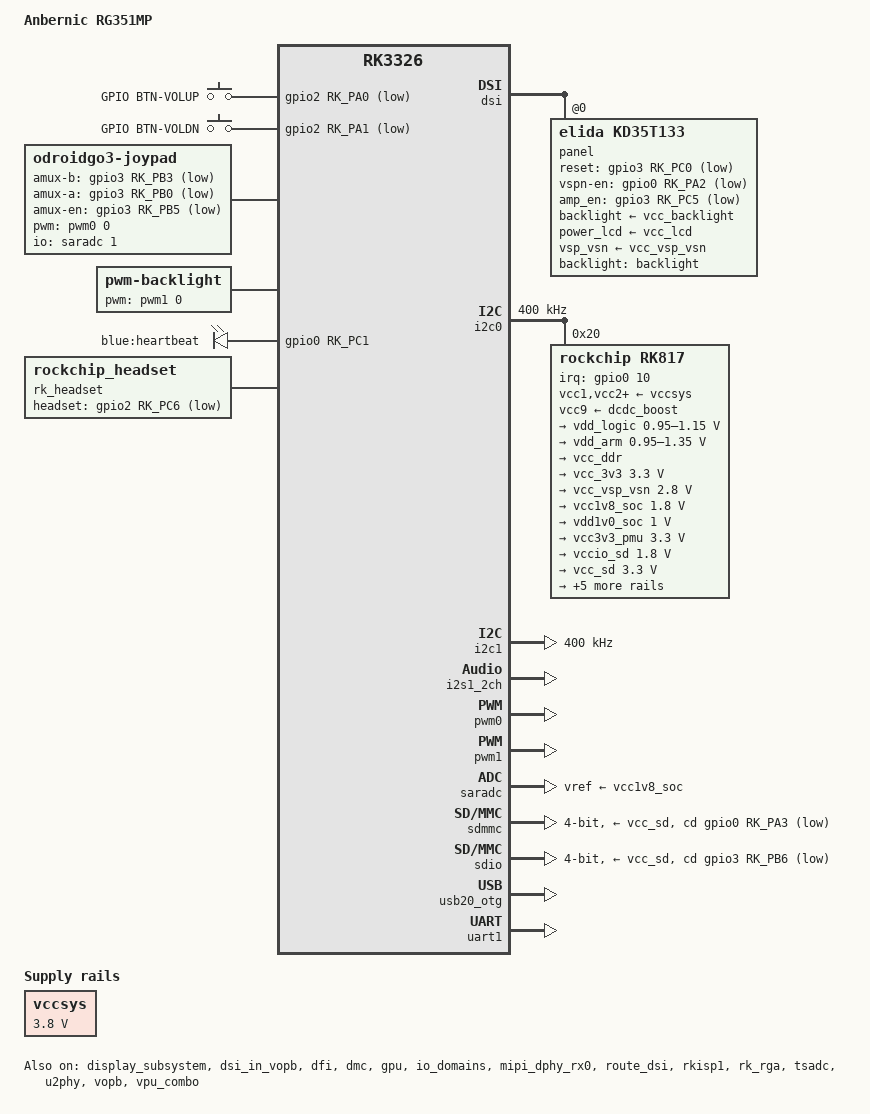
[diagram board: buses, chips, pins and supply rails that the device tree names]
// SPDX-License-Identifier: (GPL-2.0+ OR MIT)
/*
 * Copyright (c) 2021 Anbernic
 *
 * Anbernic RG351MP
 *
 */

/dts-v1/;
#include <dt-bindings/display/drm_mipi_dsi.h>
#include <dt-bindings/gpio/gpio.h>
#include <dt-bindings/input/input.h>
#include <dt-bindings/pinctrl/rockchip.h>
#include <dt-bindings/sensor-dev.h>
#include "rk3326.dtsi"
#include "rk3326-linux.dtsi"

/ {
	model = "Anbernic RG351MP";
	compatible = "rockchip,rk3326-rg351mp-linux", "rockchip,rk3326";

	chosen {
             bootargs = "console=ttyS0,115200n8 loglevel=7 console=tty1 gpt fbcon=rotate:3";
	};

	gpio_keys: rg351-keys {
		compatible = "gpio-keys";
		#address-cells = <1>;
		#size-cells = <0>;
		autorepeat;
		button@0 {
			label = "GPIO BTN-VOLUP";
			linux,code = <KEY_VOLUMEUP>;
			gpios = <&gpio2 RK_PA0 GPIO_ACTIVE_LOW>;
		};
		button@1 {
			label = "GPIO BTN-VOLDN";
			linux,code = <KEY_VOLUMEDOWN>;
			gpios = <&gpio2 RK_PA1 GPIO_ACTIVE_LOW>;
		};
	};

	joypad: odroidgo3-joypad {
                compatible = "odroidgo3-joypad";

                pwms = <&pwm0 0 200000000 0>;
                pwm-names = "enable";
                rumble-boost-weak = <0x0000>;
                rumble-boost-strong = <0x0000>;

                joypad-name = "GO-Super Gamepad";
                joypad-product = <0x1100>;
                joypad-revision = <0x0100>;

		status = "okay";
                /*
                  - odroidgo3-joypad sysfs list -
		   * for poll device interval(ms)
		   /sys/devices/platform/odroidgo3_joypad/poll_interval [rw]
		   ex) echo 20 > poll_interval
                   * for button-adc-fuzz
		   /sys/devices/platform/odroidgo3_joypad/adc_fuzz [r]
                   * for button-adc-flat
		   /sys/devices/platform/odroidgo3_joypad/adc_flat [r]

		   * for report control(1:enable, 0:disable)
		   /sys/devices/platform/odroidgo3_joypad/enable [rw]
		   * for adc calibration value setup(current adcs value -> cal value)
		   /sys/devices/platform/odroidgo3_joypad/adc_cal [rw]
		   ex) echo 0 > adc_cal

		   * for rumble period(ns)
		   /sys/devices/platform/odroidgo3_joypad/rumble_period
		   ex) echo 20000000 > rumble_duty_cycle
		   ex) cat rumble_duty_cycle -->get current duty cycle

		   * for rumble boost(0~65535)
		   /sys/devices/platform/odroidgo3_joypad/rumble_boost_weak
		   /sys/devices/platform/odroidgo3_joypad/rumble_boost_strong

		   * for amux data debug
		   * Joypad driver is disabled when using this sysfs.
		   /sys/devices/platform/odroidgo3_joypad/amux_debug [rw]
		   ex) echo 0 > amux_debug --> select amux channel
		   ex) cat amux_debug --> get adc data of seleted channel
                */

		/* gpio pincontrol setup */
                pinctrl-names = "default";
                pinctrl-0 = <&btn_pins>;
                pinctrl-1 = <&pwm0_pin>;

		/* Analog mux define */
		io-channel-names = "amux_adc";
		io-channels = <&saradc 1>;

		/* adc mux channel count */
		amux-count = <4>;
		/* adc mux select(a,b) gpio */
		//amux-a-gpios = <&gpio3 RK_PB3 GPIO_ACTIVE_LOW>;
		//amux-b-gpios = <&gpio3 RK_PB0 GPIO_ACTIVE_LOW>;
		amux-b-gpios = <&gpio3 RK_PB3 GPIO_ACTIVE_LOW>;
		amux-a-gpios = <&gpio3 RK_PB0 GPIO_ACTIVE_LOW>;
		/* adc mux enable gpio */
		amux-en-gpios = <&gpio3 RK_PB5 GPIO_ACTIVE_LOW>;

		/* adc calculate scale */
		button-adc-scale = <2>;

		/* adc deadzone range  */
		button-adc-deadzone = <64>;

		/*
		  specifies fuzz value that is used to filter noise from
		  the event stream.
		*/
		button-adc-fuzz = <32>;
		button-adc-flat = <32>;

		/*
		  Analog Stick data tuning value(precent)
		  p = positive direction, n = negative direction
		  report value = (real_adc_data * tuning_value) / 100
		*/
		abs_x-p-tuning = <200>;
		abs_x-n-tuning = <200>;

		abs_y-p-tuning = <200>;
		abs_y-n-tuning = <200>;

		abs_rx-p-tuning = <200>;
		abs_rx-n-tuning = <200>;

		abs_ry-p-tuning = <200>;
		abs_ry-n-tuning = <200>;

		/* poll device interval (ms), adc read interval */
		poll-interval = <10>;

		/* required for RG351MP */
		invert-absx;
		invert-absy;

		/* gpio button auto repeat set value : default disable */
		/*
			autorepeat;
		*/

		/*
		      *** ODROIDGO3-Advance Switch layoout ***
		|------------------------------------------------|
		| sw15  sw21        sw10   sw9        sw20  sw16 |
		|------------------------------------------------|
		|      sw19                            sw22      |
		|              |-------------------|             |
		|     sw1      |                   |      sw8    |
		|  sw3   sw4   |                   |   sw7   sw5 |
		|     sw2      |    LCD Display    |      sw6    |
		|              |                   |             |
		|              |                   |             |
		|              |-------------------|             |
		|  sw11 sw12        | sd-slot |       sw13 sw14  |
		|-------------------|         |------------------|
		*/
                /*
                    joypad driver is poll-device driver.
                    poll-device is does not support wakeup-source.
		*/
                sw1 {
                        gpios = <&gpio1 RK_PB4 GPIO_ACTIVE_LOW>;
                        label = "GPIO DPAD-UP";
                        linux,code = <BTN_DPAD_UP>; // 0x220
                };
                sw2 {
                        gpios = <&gpio1 RK_PB5 GPIO_ACTIVE_LOW>;
                        label = "GPIO DPAD-DOWN";
                        linux,code = <BTN_DPAD_DOWN>; // 0x221
                };
                sw3 {
                        gpios = <&gpio1 RK_PB6 GPIO_ACTIVE_LOW>;
                        label = "GPIO DPAD-LEFT";
                        linux,code = <BTN_DPAD_LEFT>; // 0x222
                };
                sw4 {
                        gpios = <&gpio1 RK_PB7 GPIO_ACTIVE_LOW>;
                        label = "GPIO DPAD-RIGHT";
                        linux,code = <BTN_DPAD_RIGHT>; // 0x223
                };
                sw5 {
                        gpios = <&gpio1 RK_PA2 GPIO_ACTIVE_LOW>;
                        label = "GPIO KEY BTN-A";
                        linux,code = <BTN_EAST>; // 0x131
                };
                sw6 {
                        gpios = <&gpio1 RK_PA5 GPIO_ACTIVE_LOW>;
                        label = "GPIO BTN-B";
                        linux,code = <BTN_SOUTH>; // 0x130
                };
                sw7 {
                        gpios = <&gpio1 RK_PA6 GPIO_ACTIVE_LOW>;
                        label = "GPIO BTN-Y";
                        linux,code = <BTN_WEST>; // 0x134
                };
                sw8 {
                        gpios = <&gpio1 RK_PA7 GPIO_ACTIVE_LOW>;
                        label = "GPIO BTN-X";
                        linux,code = <BTN_NORTH>; // 0x133
                };
                sw11 {
                        gpios = <&gpio2 RK_PA2 GPIO_ACTIVE_LOW>;
                        label = "GPIO F3";
                        linux,code = <BTN_TRIGGER_HAPPY3>; // 0x2c2
                };
                sw12 {
                        gpios = <&gpio2 RK_PA3 GPIO_ACTIVE_LOW>;
                        label = "GPIO F4";
                        linux,code = <BTN_TRIGGER_HAPPY4>; // 0x2c3
                };
                /*sw13 {
                        gpios = <&gpio2 RK_PA4 GPIO_ACTIVE_LOW>;
                        label = "GPIO F5";
                        linux,code = <BTN_TRIGGER_HAPPY5>; // 0x2c4
                };
                sw14 {
                        gpios = <&gpio2 RK_PA5 GPIO_ACTIVE_LOW>;
                        label = "GPIO F6";
                        linux,code = <BTN_TRIGGER_HAPPY6>; // 0x13c
                };*/
                sw15 {
                        gpios = <&gpio2 RK_PA6 GPIO_ACTIVE_LOW>;
                        label = "GPIO TOP-LEFT";
                        linux,code = <BTN_TL>; // 0x02
                };
                sw16 {
                        gpios = <&gpio2 RK_PA7 GPIO_ACTIVE_LOW>;
                        label = "GPIO TOP-RIGHT";
                        linux,code = <BTN_TR>; // 0x05
                };
                sw19 {
                        gpios = <&gpio3 RK_PB1 GPIO_ACTIVE_LOW>;
                        label = "GPIO F1";
                        linux,code = <BTN_TRIGGER_HAPPY1>;
                };
                sw20 {
                        gpios = <&gpio3 RK_PB7 GPIO_ACTIVE_LOW>;
                        label = "GPIO TOP-RIGHT2";
                        linux,code = <BTN_TR2>;
                };
                sw21 {
                        gpios = <&gpio3 RK_PB2 GPIO_ACTIVE_LOW>;
                        label = "GPIO TOP-LEFT2";
                        linux,code = <BTN_TL2>;
                };
                sw22 {
                        gpios = <&gpio3 RK_PB4 GPIO_ACTIVE_LOW>;
                        label = "GPIO F2";
                        linux,code = <BTN_TRIGGER_HAPPY2>;
                };
        };

	fiq-debugger {
		compatible = "rockchip,fiq-debugger";
		rockchip,serial-id = <2>;
		rockchip,wake-irq = <0>;
		/* If enable uart uses irq instead of fiq */
		rockchip,irq-mode-enable = <0>;
		rockchip,baudrate = <115200>;  /* Only 115200 and 1500000 */
		interrupts = <GIC_SPI 127 IRQ_TYPE_LEVEL_LOW>;
		pinctrl-names = "default";
		pinctrl-0 = <&uart2m1_xfer>;
		status = "okay";
	};

	backlight: backlight {
		compatible = "pwm-backlight";
		pwms = <&pwm1 0 62745 0>;
		/*
		brightness-levels = <
			  2   3   4   5   6   7
			  8   9  10  11  12  13  14  15
			 16  17  18  19  20  21  22  23
			 24  25  26  27  28  29  30  31
			 32  33  34  35  36  37  38  39
			 40  41  42  43  44  45  46  47
			 48  49  50  51  52  53  54  55
			 56  57  58  59  60  61  62  63
			 64  65  66  67  68  69  70  71
			 72  73  74  75  76  77  78  79
			 80  81  82  83  84  85  86  87
			 88  89  90  91  92  93  94  95
			 96  97  98  99 100 101 102 >;
			 */
			 brightness-levels = <
			 100  99  98  97  96  95  94 93
			 92 91 90 89 88 87 86 85 84 83 82 81 
			 80 79 78 77 76 75 74 73 72 71 70
			 69 68 67 66 65 64 63 62 61 60 59 
			 58 57 56 55 54 53 52 51 50 49 48 
			 47 46 45 44 43 42 41 40 39 38 37
			 36 35 34 33 32 31 30 29 28 27 26
			 25 24 23 22 21 20 19 18 17 16 15 
			 14 13 12 11 10 9 8 7 6 5 4 3 2 1 >;
		default-brightness-level = <51>; /* default 50% */
	};

	leds: gpio_leds {
		compatible = "gpio-leds";

		pinctrl-names = "led_pins";
		pinctrl-0 = <&led_pins>;

		/* Blue LED : GPIO0_C1 */
		heartbeat {
			label = "blue:heartbeat";
			gpios = <&gpio0 RK_PC1 GPIO_ACTIVE_HIGH>;
			linux,default-trigger = "heartbeat";
		};
	};

	rk817-sound {
		compatible = "simple-audio-card";
		simple-audio-card,format = "i2s";
		simple-audio-card,name = "rockchip,rk817-codec";
		simple-audio-card,mclk-fs = <256>;
		simple-audio-card,widgets =
			"Microphone", "Mic Jack",
			"Headphone", "Headphone Jack";
		simple-audio-card,routing =
			"MIC_IN", "Mic Jack",
			/*"IN1P", "Mic Jack",*/
			"Headphone Jack", "HPOL",
			"Headphone Jack", "HPOR";
		//simple-audio-card,hp-det-gpio = <&gpio2 RK_PC6 GPIO_ACTIVE_LOW>;
		simple-audio-card,codec-hp-det = <1>;
		simple-audio-card,cpu {
			sound-dai = <&i2s1_2ch>;
		};
		simple-audio-card,codec {
			sound-dai = <&rk817_codec>;
		};
	};
	
rk_headset {
		compatible = "rockchip_headset";
		headset_gpio = <&gpio2 RK_PC6 GPIO_ACTIVE_LOW>;
		pinctrl-names = "default";
		pinctrl-0 = <&hp_det>;
	};
	
	vccsys: vccsys {
		compatible = "regulator-fixed";
		regulator-name = "vcc3v8_sys";
		regulator-always-on;
		regulator-min-microvolt = <3800000>;
		regulator-max-microvolt = <3800000>;
	};

/*	vcc_host: vcc_host {
		compatible = "regulator-fixed";
		regulator-name = "vcc_host";
		regulator-min-microvolt = <5000000>;
		regulator-max-microvolt = <5000000>;

		gpio = <&gpio0 RK_PB7 GPIO_ACTIVE_HIGH>;
		enable-active-high;
		regulator-always-on;
		vin-supply = <&vccsys>;
	};*/
};

&bus_apll {
	bus-supply = <&vdd_logic>;
	status = "okay";
};

&cpu0 {
	cpu-supply = <&vdd_arm>;
};

&cpu0_opp_table {
	rockchip,avs = <1>;

	/* bin scaling clock 1.296MHz */
	
	rockchip,bin-scaling-sel = <
		0               13
		1               13
	>;
	/delete-node/ opp-408000000;
	/delete-node/ opp-600000000;
	/delete-node/ opp-816000000;
	/delete-node/ opp-1416000000;
	/delete-node/ opp-1512000000;
	/*
	rockchip,bin-scaling-sel = <
		0	10
		1	13
		2	16
		3	20
	>;
	
	opp-816000000 {
		opp-hz = /bits/ 64 <816000000>;
		opp-microvolt = <1050000 1050000 1350000>;
		opp-microvolt-L0 = <1050000 1050000 1350000>;
		opp-microvolt-L1 = <1000000 1000000 1350000>;
		opp-microvolt-L2 = <1000000 1000000 1350000>;
		opp-microvolt-L3 = <950000  950000  1350000>;
		clock-latency-ns = <40000>;
		opp-suspend;
	};

	opp-912000000 {
		opp-hz = /bits/ 64 <912000000>;
		opp-microvolt = <1125000 1125000 1350000>;
		opp-microvolt-L0 = <1125000 1125000 1350000>;
		opp-microvolt-L1 = <1075000 1075000 1350000>;
		opp-microvolt-L2 = <1075000 1075000 1350000>;
		opp-microvolt-L3 = <1000000 1000000 1350000>;
		clock-latency-ns = <40000>;
	};

	opp-1008000000 {
		opp-hz = /bits/ 64 <1008000000>;
		opp-microvolt = <1175000 1175000 1350000>;
		opp-microvolt-L0 = <1175000 1175000 1350000>;
		opp-microvolt-L1 = <1125000 1125000 1350000>;
		opp-microvolt-L2 = <1125000 1125000 1350000>;
		opp-microvolt-L3 = <1050000 1050000 1350000>;
		clock-latency-ns = <40000>;
	};

	opp-1200000000 {
		opp-hz = /bits/ 64 <1200000000>;
		opp-microvolt = <1300000 1300000 1350000>;
		opp-microvolt-L0 = <1300000 1300000 1350000>;
		opp-microvolt-L1 = <1275000 1275000 1350000>;
		opp-microvolt-L2 = <1250000 1250000 1350000>;
		opp-microvolt-L3 = <1200000 1200000 1350000>;
		clock-latency-ns = <40000>;
	};

	opp-1248000000 {
		opp-hz = /bits/ 64 <1248000000>;
		opp-microvolt = <1350000 1350000 1350000>;
		opp-microvolt-L0 = <1350000 1350000 1350000>;
		opp-microvolt-L1 = <1300000 1300000 1350000>;
		opp-microvolt-L2 = <1275000 1275000 1350000>;
		opp-microvolt-L3 = <1225000 1225000 1350000>;
		clock-latency-ns = <40000>;
	};

	opp-1296000000 {
		opp-hz = /bits/ 64 <1296000000>;
		opp-microvolt = <1350000 1350000 1350000>;
		opp-microvolt-L0 = <1350000 1350000 1350000>;
		opp-microvolt-L1 = <1350000 1350000 1350000>;
		opp-microvolt-L2 = <1300000 1300000 1350000>;
		opp-microvolt-L3 = <1250000 1250000 1350000>;
		clock-latency-ns = <40000>;
	};

	opp-1320000000 {
		opp-hz = /bits/ 64 <1320000000>;
		opp-microvolt = <1350000 1350000 1350000>;
		opp-microvolt-L0 = <1350000 1350000 1350000>;
		opp-microvolt-L1 = <1350000 1350000 1350000>;
		opp-microvolt-L2 = <1300000 1300000 1350000>;
		opp-microvolt-L3 = <1250000 1250000 1350000>;
		clock-latency-ns = <40000>;
	};

	opp-1344000000 {
		opp-hz = /bits/ 64 <1344000000>;
		opp-microvolt = <1350000 1350000 1350000>;
		opp-microvolt-L0 = <1350000 1350000 1350000>;
		opp-microvolt-L1 = <1350000 1350000 1350000>;
		opp-microvolt-L2 = <1300000 1300000 1350000>;
		opp-microvolt-L3 = <1250000 1250000 1350000>;
		clock-latency-ns = <40000>;
	};

	opp-1368000000 {
		opp-hz = /bits/ 64 <1368000000>;
		opp-microvolt = <1350000 1350000 1350000>;
		opp-microvolt-L0 = <1350000 1350000 1350000>;
		opp-microvolt-L1 = <1350000 1350000 1350000>;
		opp-microvolt-L2 = <1300000 1300000 1350000>;
		opp-microvolt-L3 = <1250000 1250000 1350000>;
		clock-latency-ns = <40000>;
	};
	*/
};

&display_subsystem {
	status = "okay";
};

&dsi {
	status = "okay";

	panel@0 {
		compatible = "elida,kd35t133", "simple-panel-dsi";
		reg = <0>;
		
		pinctrl-names = "default";
		pinctrl-0 = <&lcd_rst_gpio>;
		
		/* pwm1 backlight */
		backlight = <&backlight>;
		/* RK817 LDO7 */
		backlight-supply = <&vcc_backlight>;
		/* RK817 LDO8 */
		power_lcd-supply = <&vcc_lcd>;
		/* RK817 LDO1 */
		vsp_vsn-supply=<&vcc_vsp_vsn>;
		
		/* Rev 0.2 LCD reset gpio GPIO3.C0 */
		reset-gpios = <&gpio3 RK_PC0 GPIO_ACTIVE_LOW>;
		
		/*vsp and vsn en GPIO0.A2*/
		vspn-en=<&gpio0 RK_PA2 GPIO_ACTIVE_LOW>;
		/*amp en GPIO3.C3*/
		amp_en_gpio=<&gpio3 RK_PC5 GPIO_ACTIVE_LOW>;
		/*
		
		prepare-delay-ms = <2>;//配置panel接收图像数据前的延时值
		//reset-delay-ms = <1>;
		reset-delay-ms = <2>;//配置reset的脉冲时延
		init-delay-ms = <20>;//配置panel在初始化前的时值
		enable-delay-ms = <120>;//配置pane1显示前的延时值;
		disable-delay-ms = <50>;//配置panel关闭前的延时值;
		unprepare-delay-ms = <20>;//配置panel黑屏前的延时值:
		
		*/
             /*
		prepare-delay-ms = <6>;
		reset-delay-ms = <1>;
		init-delay-ms = <20>;
		enable-delay-ms = <120>;
		disable-delay-ms = <70>;
		unprepare-delay-ms = <20>;
		*/
		prepare-delay-ms = <2>;
		reset-delay-ms = <1>;
		init-delay-ms = <1>;
		enable-delay-ms = <120>;
		disable-delay-ms = <70>;
		unprepare-delay-ms = <20>;
		/* LCD size */
		/*
		width-mm = <59>;
		height-mm = <66>;
		*/
		width-mm = <65>;
		height-mm = <50>;
		dsi,flags = <(MIPI_DSI_MODE_VIDEO           |
			      MIPI_DSI_MODE_VIDEO_BURST     |
			      MIPI_DSI_MODE_LPM             |
			      MIPI_DSI_MODE_EOT_PACKET)>;

		dsi,format = <MIPI_DSI_FMT_RGB888>;
		dsi,lanes = <4>;
		//	dsi,lanes = <2>;
		/*
			- panel-init-sequence data description -
			  mipi_cmd, delay(ms), len, lcd_cmd, lcd_data...

			- mipi_cmd description -
			  05 : MIPI_DSI_SHORT_WRITE
			  15 : MIPI_DSI_SHORT_WRITE_PARAM
			  39 : MIPI_DSI_LONG_WRITE

			- ILI9486 (Initialize sequence) -
			  11: Sleep out & 250ms wait
			  E0: PositiveGamma
			  E1: NegativeGamma
			  C0: PowerControl_1
			  C1: PowerControl_2
			  C5: VcomControl
			  36: MemoryAccess
			  3A: InterfacePixelFormat
			  B0: InterfaceModeControl
			  B1: FrameRateControl
			  B4: DisplayInversionControl
			  B6: DisplayFunctionControl
			  E9: SetImageFunction
			  F7: AdjustControl_3
			  21: DisplayInversionOn
			  29: DisplayOn & 50ms wait
		*/

		panel-init-sequence = [
		/*
			15 00 02 FF 10
			15 00 02 FB 01
			15 00 02 C0 05
			15 00 02 BA 07
			15 00 02 FF 10
			15 00 02 FB 01
			15 00 02 35 00
			15 00 02 53 24
			15 00 02 51 FF
			15 00 02 BB 10
			05 C8 01 11
			05 0A 01 29
		
			15 05 02 01 10
			15 05 02 B0 00
			39 00 05 E4 00 00 00 00 08
			39 00 03 D0 45 45 71
			15 00 02 6F 01
			15 78 02 11 00
			39 00 04 D0 52 4A 71
			39 00 09 BE FF 0F 00 18 04 04 00 5D
			15 00 02 BB 2F
			15 00 02 B0 2F
			15 78 02 29 00
			*/
			/*//退出休眠不关机
			//15 05 02 01 00
			15 05 02 01 01
			15 05 02 B0 00
			39 00 06 E4 00 00 00 00 08
			39 00 04 D0 45 45 71
			15 78 02 6F 01
			05 78 01 11 
			39 00 04 D0 52 4A 71
			39 00 09 BE FF 0F 00 18 04 04 00 5D
			15 00 02 BB 2F
			15 14 02 B0 2F
			//05 20 01 11
			05 78 01 29 
			*/
			/*
		      //15 05 02 01 00
			//05 05 01 01
			05 05 01 01
			15 05 02 B0 00
			39 00 06 E4 00 00 00 00 08
			39 00 04 D0 45 45 71
			15 78 02 6F 01
			05 78 01 11 
			39 00 04 D0 52 4A 71
			39 00 09 BE FF 0F 00 18 04 04 00 5D
			15 00 02 BB 2F
			15 14 02 B0 2F
		      //05 20 01 11
			05 78 01 29 
			*/
			/*
			39 00 04 DF 91 68 F9
			15 00 02 DE 00
			39 00 03 B2 00 9B
			39 00 03 B3 00 9B
			39 00 07 C1 00 10 00 00 00 00
			39 00 08 BB 02 14 08 24 19 44 44
			39 00 03 BE 1A F2
			39 00 15 C3 10 07 5A 07 5A 05 05 05 05 1B 1B 31 08 D4
			39 00 08 C4 10 68 F0 EA 09 07 14
			39 00 24 CE 00 03 03 03 03 03 03 03 03 03 03 03 03 03 03 03 03 03 03 03 03 03
			39 00 10 CF 00 00 8D 01 7C 00 8D 01 7C
			39 00 24 D0 00 1F 1F 1F 1F 1F 1F 1F 1F 1F 02 00 04 06 08 0A 1E 1E 1F 1F 11 1F
			39 00 24 D1 00 1F 1F 1F 1F 1F 1F 1F 1F 1F 03 01 05 07 09 0B 1E 1E 1F 1F 10 1F
			39 00 24 D2 00 1F 1F 1F 1F 1F 1F 1F 1F 1F 01 03 0B 09 07 05 1F 1E 1F 1F 11 1E
			39 00 24 D3 00 1F 1F 1F 1F 1F 1F 1F 1F 1F 00 02 0A 08 06 04 1F 1E 1F 1F 10 1E
			39 00 38 D4 30 00 00 06 00 08 00 04 C2 00 00 03 03 00 00 85 B8 40 04 0D 0D 00 80 04 40 04 0D 0D 00 00 14 04 14 05 B1 05 B1
			39 00 06 D5 68 73 00 0A 08
			39 00 07 B7 00 FF 01 00 FF 01
			39 00 39 C8 7F 69 59 4C 47 37 3B 23 3B 3A 39 58 46 4F 41 3D 30 1F 08 7F 69 59 4C 47 37 3B 23 3B 3A 39 58 46 4F 41 3D 30 1F 08
			15 00 02 DE 02
			39 00 05 BB 00 5B 5C 41
			15 00 02 C1 15
			15 00 02 E7 01
			15 00 02 DE 00
			05 78 01 11
			05 14 01 29 
			*/
			/*//960X720
			39 00 04 DF 91 68 F9
			15 00 02 DE 00
			39 00 03 B2 00 9B
			39 00 03 B3 00 9B
			39 00 07 C1 00 10 00 00 00 00
			39 00 08 BB 02 14 08 24 19 44 44
			39 00 03 BE 1A F2
			39 00 0F C3 10 07 5A 07 5A 05 05 05 05 1B 1B 31 08 D4
			39 00 08 C4 10 68 F0 EA 09 07 14
			39 00 18 CE 00 03 03 03 03 03 03 03 03 03 03 03 03 03 03 03 03 03 03 03 03 03 03
			39 00 0A CF 00 00 8D 01 7C 00 8D 01 7C
			39 00 18 D0 00 1F 1F 1F 1F 1F 1F 1F 1F 1F 1F 02 00 04 06 08 0A 1E 1E 1F 1F 11 1F
			39 00 18 D1 00 1F 1F 1F 1F 1F 1F 1F 1F 1F 1F 03 01 05 07 09 0B 1E 1E 1F 1F 10 1F
			39 00 18 D2 00 1F 1F 1F 1F 1F 1F 1F 1F 1F 1F 01 03 0B 09 07 05 1F 1E 1F 1F 11 1E
			39 00 18 D3 00 1F 1F 1F 1F 1F 1F 1F 1F 1F 1F 00 02 0A 08 06 04 1F 1E 1F 1F 10 1E
			39 00 26 D4 30 00 00 06 00 08 00 04 C2 00 00 03 03 00 00 85 B8 40 04 0D 0D 00 80 04 40 04 0D 0D 00 00 14 04 14 05 B1 05 B1
			39 00 06 D5 68 73 00 0A 08
			39 00 07 B7 00 FF 01 00 FF 01
			39 00 27 C8 7F 69 59 4C 47 37 3B 23 3B 3A 39 58 46 4F 41 3D 30 1F 08 7F 69 59 4C 47 37 3B 23 3B 3A 39 58 46 4F 41 3D 30 1F 08
			15 00 02 DE 02
			39 00 05 BB 00 5B 5C 41
			15 00 02 C1 15
			15 00 02 E7 01
			15 00 02 DE 00
			05 78 01 11
			05 14 01 29 
			 */
			///*   //800X720
			39 00 04 DF 91 68 F9
			15 00 02 DE 00
			39 00 03 B2 00 9F
			39 00 03 B3 00 9F
			39 00 07 C1 00 10 00 00 00 00
			39 00 08 BB 02 14 08 24 19 44 44
			39 00 03 BE 1A F2
			39 00 0F C3 10 07 5A 07 5A 05 05 05 05 1B 1B 31 08 D4
			39 00 08 C4 10 68 C8 EA 09 07 14
			39 00 18 CE 00 03 03 03 03 03 03 03 03 03 03 03 03 03 03 03 03 03 03 03 03 03 03
			39 00 0A CF 00 00 8D 01 7C 00 8D 01 7C
			39 00 18 D0 00 1F 1F 1F 1F 1F 1F 1F 1F 1F 1F 02 00 04 06 08 0A 1E 1E 1F 1F 11 1F
			39 00 18 D1 00 1F 1F 1F 1F 1F 1F 1F 1F 1F 1F 03 01 05 07 09 0B 1E 1E 1F 1F 10 1F
			39 00 18 D2 00 1F 1F 1F 1F 1F 1F 1F 1F 1F 1F 01 03 0B 09 07 05 1F 1E 1F 1F 11 1E
			39 00 18 D3 00 1F 1F 1F 1F 1F 1F 1F 1F 1F 1F 00 02 0A 08 06 04 1F 1E 1F 1F 10 1E
			39 00 26 D4 30 00 00 06 00 08 00 04 C2 00 00 03 03 00 00 85 B8 40 04 0D 0D 00 80 04 40 04 0D 0D 00 00 14 04 14 05 B1 05 B1
			39 00 06 D5 68 73 00 0A 08
			39 00 07 B7 00 FF 01 00 FF 01
			39 00 27 C8 7F 68 57 4A 44 33 35 1D 34 33 32 50 3D 45 36 33 26 18 08 7F 68 57 4A 44 33 35 1D 34 33 32 50 3D 45 36 33 26 18 08
		        15 00 02 DE 02
			39 00 05 BB 00 5B 5C 41
			15 00 02 C1 15
			15 00 02 E7 01
			15 00 02 DE 00
			05 78 01 11
			05 14 01 29 
			//*/
			
		];

		/* 28: DisplayOff */
		/* 10: SleepIn */
		/*
		panel-exit-sequence = [
			05 20 01 28
			05 78 01 10
		];
		*/
		/*             //退出休眠不关机
		panel-exit-sequence = [   
			05 20 01 28
			05 78 01 10
			
			
		];
		*/
		panel-exit-sequence = [ 
		
		//05 20 01 01
		 
		05 78 01 28
		05 20 01 10 
			
			
			
		];
		display-timings {
			native-mode = <&timing0>;

			timing0: timing0 {
				/*
				clock-frequency = <85000000>;
				hactive = <1080>;
				vactive = <1200>;
				hfront-porch = <20>;
				hsync-len = <10>;
				hback-porch = <20>;
				vfront-porch = <8>;
				vsync-len = <4>;
				vback-porch = <8>;
				hsync-active = <0>;
				vsync-active = <0>;
				de-active = <0>;
				pixelclk-active = <0>;
				*/
				/*
			      //clock-frequency = <34653000>;
				clock-frequency = <35000000>;
				hactive = <720>;
				vactive = <720>;
				hfront-porch = <21>;
				hsync-len = <2>;
				hback-porch = <24>;
				vfront-porch = <25>;
				vsync-len = <5>;
				vback-porch = <3>;
				hsync-active = <0>;
				vsync-active = <0>;
				de-active = <0>;
				pixelclk-active = <0>;
				*/
				  //clock-frequency = <34653000>;
				  //  clock-frequency = <45000000>;
				      clock-frequency = <38000000>;
				hactive = <800>;
				//hactive = <960>;
				vactive = <720>;
				hfront-porch = <20>;
				hsync-len = <20>;
				hback-porch = <20>;
				vfront-porch = <9>;
				vsync-len = <2>;
				vback-porch = <6>;
				hsync-active = <0>;
				vsync-active = <0>;
				de-active = <0>;
				pixelclk-active = <0>;
				
			};
		};
	};
};

&dsi_in_vopb {
	status = "okay";
};

&dfi {
	status = "okay";
};

&dmc {
	center-supply = <&vdd_logic>;
	status = "okay";
	upthreshold = <40>;
	downdifferential = <20>;
	system-status-freq = <
		/*system status         freq(KHz)*/
		SYS_STATUS_NORMAL       666000
		SYS_STATUS_REBOOT       786000
		SYS_STATUS_SUSPEND      450000
		SYS_STATUS_VIDEO_1080P  666000
		SYS_STATUS_VIDEO_4K     786000
		SYS_STATUS_VIDEO_4K_10B 786000
		SYS_STATUS_PERFORMANCE  850000
		SYS_STATUS_BOOST        850000
		SYS_STATUS_DUALVIEW     786000
		SYS_STATUS_ISP          786000
	>;

	auto-min-freq = <450000>;
	auto-freq-en = <1>;
};

&dmc_opp_table {
	/delete-node/ opp-194000000;
	/delete-node/ opp-328000000;
	/delete-node/ opp-450000000;
	opp-786000000 {
		opp-hz = /bits/ 64 <786000000>;
		opp-microvolt = <1125000>;
		opp-microvolt-L0 = <1125000>;
		opp-microvolt-L1 = <1075000>;
		opp-microvolt-L2 = <1050000>;
		opp-microvolt-L3 = <1025000>;
		status = "okay";
	};
/*
	opp-450000000 {
		opp-hz = /bits/ 64 <450000000>;
		opp-microvolt = <950000>;
	};

	opp-528000000 {
		opp-hz = /bits/ 64 <528000000>;
		opp-microvolt = <975000>;
	};

	opp-666000000 {
		opp-hz = /bits/ 64 <666000000>;
		opp-microvolt = <1050000>;
	};

	opp-786000000 {
		opp-hz = /bits/ 64 <786000000>;
		opp-microvolt = <1150000>;
	};

	opp-840000000 {
		opp-hz = /bits/ 64 <840000000>;
		opp-microvolt = <1150000>;
	};
	*/
};

&emmc {
	status = "disabled";
};

&gpu {
	mali-supply = <&vdd_logic>;
	status = "okay";
};

&gpu_opp_table {
	/delete-node/ opp-200000000;
	/delete-node/ opp-300000000;
	/*
	opp-400000000 {
		opp-hz = /bits/ 64 <400000000>;
		opp-microvolt = <1050000>;
		opp-microvolt-L0 = <1050000>;
		opp-microvolt-L1 = <1025000>;
		opp-microvolt-L2 = <975000>;
		opp-microvolt-L3 = <950000>;
	};
	opp-480000000 {
		opp-hz = /bits/ 64 <480000000>;
		opp-microvolt = <1125000>;
		opp-microvolt-L0 = <1125000>;
		opp-microvolt-L1 = <1100000>;
		opp-microvolt-L2 = <1050000>;
		opp-microvolt-L3 = <1000000>;
	};

	opp-520000000 {
		opp-hz = /bits/ 64 <520000000>;
		opp-microvolt = <1150000>;
		opp-microvolt-L0 = <1150000>;
		opp-microvolt-L1 = <1150000>;
		opp-microvolt-L2 = <1100000>;
		opp-microvolt-L3 = <1050000>;
	};

	opp-540000000 {
		opp-hz = /bits/ 64 <540000000>;
		opp-microvolt = <1150000>;
		opp-microvolt-L0 = <1150000>;
		opp-microvolt-L1 = <1150000>;
		opp-microvolt-L2 = <1100000>;
		opp-microvolt-L3 = <1050000>;
	};

	opp-560000000 {
		opp-hz = /bits/ 64 <560000000>;
		opp-microvolt = <1150000>;
		opp-microvolt-L0 = <1150000>;
		opp-microvolt-L1 = <1150000>;
		opp-microvolt-L2 = <1100000>;
		opp-microvolt-L3 = <1050000>;
	};
	*/
};

&i2c0 {
	status = "okay";
	clock-frequency = <400000>;
	i2c-scl-rising-time-ns = <280>;
	i2c-scl-falling-time-ns = <16>;

	rk817: pmic@20 {
		compatible = "rockchip,rk817";
		reg = <0x20>;
		interrupt-parent = <&gpio0>;
		interrupts = <10 IRQ_TYPE_LEVEL_LOW>;
		pinctrl-names = "default", "pmic-sleep",
				"pmic-power-off", "pmic-reset";
		pinctrl-0 = <&pmic_int>;
		pinctrl-1 = <&soc_slppin_slp>, <&rk817_slppin_slp>;
		pinctrl-2 = <&soc_slppin_gpio>, <&rk817_slppin_pwrdn>;
		pinctrl-3 = <&soc_slppin_rst>, <&rk817_slppin_rst>;
		rockchip,system-power-controller;
		wakeup-source;
		#clock-cells = <1>;
		clock-output-names = "rk808-clkout1", "rk808-clkout2";
		//fb-inner-reg-idxs = <2>;

		/* 1: rst regs (default in codes), 0: rst the pmic */
		pmic-reset-func = <1>;

		vcc1-supply = <&vccsys>;
		vcc2-supply = <&vccsys>;
		vcc3-supply = <&vccsys>;
		vcc4-supply = <&vccsys>;
		vcc5-supply = <&vccsys>;
		vcc6-supply = <&vccsys>;
		vcc7-supply = <&vccsys>;
		vcc8-supply = <&vccsys>;
		vcc9-supply = <&dcdc_boost>;

		pwrkey {
			status = "okay";
		};

		pinctrl_rk8xx: pinctrl_rk8xx {
			gpio-controller;
			#gpio-cells = <2>;

			rk817_ts_gpio1: rk817_ts_gpio1 {
				pins = "gpio_ts";
				function = "pin_fun1";
				/* output-low; */
				/* input-enable; */
			};

			rk817_gt_gpio2: rk817_gt_gpio2 {
				pins = "gpio_gt";
				function = "pin_fun1";
			};

			rk817_pin_ts: rk817_pin_ts {
				pins = "gpio_ts";
				function = "pin_fun0";
			};

			rk817_pin_gt: rk817_pin_gt {
				pins = "gpio_gt";
				function = "pin_fun0";
			};

			rk817_slppin_null: rk817_slppin_null {
				pins = "gpio_slp";
				function = "pin_fun0";
			};

			rk817_slppin_slp: rk817_slppin_slp {
				pins = "gpio_slp";
				function = "pin_fun1";
			};

			rk817_slppin_pwrdn: rk817_slppin_pwrdn {
				pins = "gpio_slp";
				function = "pin_fun2";
			};

			rk817_slppin_rst: rk817_slppin_rst {
				pins = "gpio_slp";
				function = "pin_fun3";
			};
		};

		regulators {
			vdd_logic: DCDC_REG1 {
				regulator-always-on;
				regulator-boot-on;
				regulator-min-microvolt = <950000>;
				regulator-max-microvolt = <1150000>;
				regulator-ramp-delay = <6001>;
				regulator-initial-mode = <0x2>;
				regulator-name = "vdd_logic";
				regulator-state-mem {
					regulator-on-in-suspend;
					regulator-suspend-microvolt = <950000>;
				};
			};

			vdd_arm: DCDC_REG2 {
				regulator-always-on;
				regulator-boot-on;
				regulator-min-microvolt = <950000>;
				regulator-max-microvolt = <1350000>;
				regulator-ramp-delay = <6001>;
				regulator-initial-mode = <0x2>;
				regulator-name = "vdd_arm";
				regulator-state-mem {
					regulator-off-in-suspend;
					regulator-suspend-microvolt = <950000>;
				};
			};

			vcc_ddr: DCDC_REG3 {
				regulator-always-on;
				regulator-boot-on;
				regulator-initial-mode = <0x2>;
				regulator-name = "vcc_ddr";
				regulator-state-mem {
					regulator-on-in-suspend;
				};
			};

			vcc_3v3: DCDC_REG4 {
				regulator-always-on;
				regulator-boot-on;
				regulator-min-microvolt = <3300000>;
				regulator-max-microvolt = <3300000>;
				regulator-initial-mode = <0x2>;
				regulator-name = "vcc_3v3";
				regulator-state-mem {
					regulator-off-in-suspend;
					regulator-suspend-microvolt = <3300000>;
				};
			};

			/* Not Used */
			/*
			vcc_1v0: LDO_REG1 {
				regulator-min-microvolt = <1000000>;
				regulator-max-microvolt = <1000000>;
				regulator-name = "vcc_1v0";
				regulator-state-mem {
					regulator-off-in-suspend;
					regulator-suspend-microvolt = <1000000>;
				};
			};
			*/
			vcc_vsp_vsn: LDO_REG1 {
				regulator-min-microvolt = <2800000>;
				regulator-max-microvolt = <2800000>;
				regulator-name = "vcc_vsp_vsn";
				regulator-state-mem {
					regulator-off-in-suspend;
					regulator-suspend-microvolt = <2800000>;
				};
			};

			vcc1v8_soc: LDO_REG2 {
				regulator-always-on;
				regulator-boot-on;
				regulator-min-microvolt = <1800000>;
				regulator-max-microvolt = <1800000>;

				regulator-name = "vcc1v8_soc";
				regulator-state-mem {
					regulator-on-in-suspend;
					regulator-suspend-microvolt = <1800000>;
				};
			};

			vdd1v0_soc: LDO_REG3 {
				regulator-always-on;
				regulator-boot-on;
				regulator-min-microvolt = <1000000>;
				regulator-max-microvolt = <1000000>;

				regulator-name = "vcc1v0_soc";
				regulator-state-mem {
					regulator-on-in-suspend;
					regulator-suspend-microvolt = <1000000>;
				};
			};

			vcc3v3_pmu: LDO_REG4 {
				regulator-always-on;
				regulator-boot-on;
				regulator-min-microvolt = <3300000>;
				regulator-max-microvolt = <3300000>;

				regulator-name = "vcc3v3_pmu";
				regulator-state-mem {
					regulator-on-in-suspend;
					regulator-suspend-microvolt = <3300000>;

				};
			};

			vccio_sd: LDO_REG5 {
				regulator-always-on;
				regulator-boot-on;
				regulator-min-microvolt = <1800000>;
				regulator-max-microvolt = <1800000>;

				regulator-name = "vccio_sd";
				regulator-state-mem {
					regulator-on-in-suspend;
					regulator-suspend-microvolt = <1800000>;
				};
			};
			/*
			vcc_sd: LDO_REG6 {
				regulator-min-microvolt = <1800000>;
				regulator-max-microvolt = <3000000>;
				regulator-boot-on;

				regulator-name = "vcc_sd";
				regulator-state-mem {
					regulator-on-in-suspend;
					regulator-suspend-microvolt = <3000000>;

				};
			};
			*/
			vcc_sd: LDO_REG6 {
				regulator-min-microvolt = <3300000>;
				regulator-max-microvolt = <3300000>;
				regulator-boot-on;

				regulator-name = "vcc_sd";
				regulator-state-mem {
					regulator-on-in-suspend;
					regulator-suspend-microvolt = <3300000>;

				};
			};

			/* Rev 0.2 LCD Backlight Power */
			vcc_backlight: LDO_REG7 {
				regulator-min-microvolt = <2800000>;
				regulator-max-microvolt = <2800000>;
				regulator-name = "vcc_backlight";
				regulator-state-mem {
					regulator-off-in-suspend;
					regulator-suspend-microvolt = <2800000>;
				};
			};

			/* Rev 0.2 LCD IO Power */
			vcc_lcd: LDO_REG8 {
				regulator-min-microvolt = <1800000>;
				regulator-max-microvolt = <1800000>;
				regulator-name = "vcc_lcd";
				regulator-state-mem {
					regulator-off-in-suspend;
					regulator-suspend-microvolt = <1800000>;
				};
			};

			/* Rev 1.1 WIFI Power */
			vcc_wifi: LDO_REG9 {
				regulator-always-on;
				regulator-boot-on;
				regulator-min-microvolt = <3300000>;
				regulator-max-microvolt = <3300000>;

				regulator-name = "vcc_wifi";
				regulator-state-mem {
					regulator-off-in-suspend;
					regulator-suspend-microvolt = <3300000>;
				};
			};

			dcdc_boost: BOOST {
				regulator-always-on;
				regulator-boot-on;
				regulator-min-microvolt = <5000000>;
				regulator-max-microvolt = <5400000>;
				regulator-name = "boost";
			};

			otg_switch: OTG_SWITCH {
				regulator-boot-on;
				regulator-name = "otg_switch";
			};
		};

		battery {
			compatible = "rk817,battery";
		/*	ocv_table = <3165 3220 3280 3330 3380 3430 3480
			3530 3580 3630 3670 3710 3750 3790
			3830 3870 3910 3950 3990 3995 4000>;

			*/
			
			ocv_table = <3400 3599 3671 3701 3728 3746 3762
				3772 3781 3792 3816 3836 3866 3910
				3942 3971 4002 4050 4088 4132 4183>;
			/* KPL605475 Battery Spec */
			/*
				Capacity : 3.7V 3000mA
				Normal Voltage = 3.7V
				Cut-Off Voltage : 3.1V
				Internal Impedance : 180 mOhm
				Charging Voltage : 4.2V
				Charging Voltage Max : 4.25V
				Sample resister : 10 mohm
			*/
			design_capacity = <3380>;
			design_qmax = <3718>;
			//design_capacity = <1100>;
			//design_qmax = <1320>;
			bat_res = <100>;
			sleep_enter_current = <300>;
			sleep_exit_current = <300>;
			sleep_filter_current = <100>;
			//power_off_thresd = <3000>;
			power_off_thresd = <3320>;
			zero_algorithm_vol = <3850>;
			max_soc_offset = <60>;
			monitor_sec = <5>;
			virtual_power = <0>;
			sample_res = <10>;
			power_dc2otg = <0>;
		};

		charger {
			compatible = "rk817,charger";
			min_input_voltage = <4500>;
			max_input_current = <1500>;
			max_chrg_current = <2000>;
			max_chrg_voltage = <4200>;
			chrg_term_mode = <0>;
			chrg_finish_cur = <52>;
			virtual_power = <0>;
			sample_res = <10>;


			/* P.C.B rev0.2 DC Detect & Charger Status LED GPIO */
			dc_det_gpio  = <&gpio0 RK_PB3 GPIO_ACTIVE_HIGH>;
			bat_low_gpio = <&gpio2 RK_PB5 GPIO_ACTIVE_HIGH>;

			extcon = <&u2phy>;
		};

		rk817_codec: codec {
			#sound-dai-cells = <0>;
			compatible = "rockchip,rk817-codec";
			clocks = <&cru SCLK_I2S1_OUT>;
			clock-names = "mclk";
			pinctrl-names = "default";
			pinctrl-0 = <&i2s1_2ch_mclk>;
			spk-ctl-gpios = <&gpio2 RK_PA5 GPIO_ACTIVE_HIGH>;
			hp-volume = <20>;
			spk-volume = <3>;
			status = "okay";
		};
	};
};

/* EXT Header(P2) : 7(SCL:GPIO0.C2), 8(SDA:GPIO0.C3) */
&i2c1 {
	status = "okay";
	clock-frequency = <400000>;
};

/* MIPI CSI I2C */
&i2c2 {
	status = "disabled";
};

/* I2S 1 Channel Used */
&i2s1_2ch {
	status = "okay";
	#sound-dai-cells = <0>;
};

&io_domains {
	/* GRF Register Voltage select control */
	status = "okay";

	/* SDIO I/O Voltage */
	vccio1-supply = <&vccio_sd>;
	/* SDMMC I/O Voltage */
	vccio2-supply = <&vccio_sd>;
	/* CAM I/O Voltage */
	vccio3-supply = <&vcc_3v3>;
	/* LVDS/LCDC I/O Voltage */
	vccio4-supply = <&vcc_3v3>;
	/* I2S I/O Voltage */
	vccio5-supply = <&vcc_3v3>;
	/* eMMC I/O Voltage */
	vccio6-supply = <&vcc_3v3>;
};

&isp_mmu {
	status = "okay";
};

&mipi_dphy_rx0 {
	status = "okay";
};

&pmu_io_domains {
	/* PMU GRF Register Voltage select control */
	status = "okay";

	/* PMU I/O Voltage */
	pmuio1-supply = <&vcc3v3_pmu>;
	/* GPIO0_B/GPIO0_C, Flash */
	pmuio2-supply = <&vcc3v3_pmu>;
};

/* RG351MP Motor PWM */
&pwm0 {
	status = "okay";
};

/* LCD Backlight PWM */
&pwm1 {
	status = "okay";
};

&route_dsi {
	connect = <&vopb_out_dsi>;
	//logo,rotate = <1>;
	logo,rotate = <3>;
	status = "okay";
};

&rkisp1 {
	status = "okay";
};

&rk_rga {
	status = "okay";
};

&rockchip_suspend {
	status = "okay";
	rockchip,sleep-debug-en = <1>;
};

&sfc {
	status = "disabled";
};

&spi0 {
	status = "disabled";
};

&saradc {
	status = "okay";
	vref-supply = <&vcc1v8_soc>;
};

&sdmmc {
	bus-width = <4>;
	cap-mmc-highspeed;
	cap-sd-highspeed;
	supports-sd;
	card-detect-delay = <800>;
	ignore-pm-notify;
	cd-gpios = <&gpio0 RK_PA3 GPIO_ACTIVE_LOW>; /*[> CD GPIO <]*/
	sd-uhs-sdr12;
	sd-uhs-sdr25;
	sd-uhs-sdr50;
	sd-uhs-sdr104;
	vqmmc-supply = <&vccio_sd>;
	vmmc-supply = <&vcc_sd>;
	status = "okay";
};

&sdio {
	bus-width = <4>;
	cap-mmc-highspeed;
	cap-sd-highspeed;
	supports-sd;
	card-detect-delay = <800>;
	ignore-pm-notify;
	cd-gpios = <&gpio3 RK_PB6 GPIO_ACTIVE_LOW>; /*[> CD GPIO <]*/
	sd-uhs-sdr12;
	sd-uhs-sdr25;
	sd-uhs-sdr50;
	sd-uhs-sdr104;
	vqmmc-supply = <&vccio_sd>;
	vmmc-supply = <&vcc_sd>;
	status = "okay";
};

&tsadc {
	pinctrl-names = "gpio", "otpout";
	pinctrl-0 = <&tsadc_otp_gpio>;
	pinctrl-1 = <&tsadc_otp_out>;
	status = "okay";
};

&u2phy {
	status = "okay";

	u2phy_host: host-port {
		status = "okay";
	};

	u2phy_otg: otg-port {
		status = "disabled";
	};
};

&usb20_otg {
	status = "okay";
};

/*
	EXT Header(P2) UART :
	2(RXD:GPIO1.C0),3(TXD:GPIO1.C1),4(CTS:GPIO1.C2),5(RTS:GPIO1.C3)
*/
&uart1 {
	pinctrl-names = "default";
	pinctrl-0 = <&uart1_xfer &uart1_cts>;
	status = "okay";
};

&vip_mmu {
	status = "okay";
};

&vopb {
	status = "okay";
};

&vopb_mmu {
	status = "okay";
};

&vpu_combo {
	status = "okay";
};

&pinctrl {
	headphone {
		hp_det: hp-det {
			rockchip,pins = <2 RK_PC6 RK_FUNC_GPIO &pcfg_pull_up>;
		};
		};

	lcd_rst {
		lcd_rst_gpio: lcd-rst-gpio {
			rockchip,pins =
				       <3 RK_PC0 RK_FUNC_GPIO &pcfg_pull_none>,
				       <0 RK_PA2 RK_FUNC_GPIO &pcfg_pull_none>,
				       <3 RK_PC5 RK_FUNC_GPIO &pcfg_pull_none>;
				       };
		};

	pmic {
		/* ODROID-GO2 : PMIC_INT(GPIO0.PB2) */
		pmic_int: pmic_int {
			rockchip,pins =
				<0 RK_PB2 RK_FUNC_GPIO &pcfg_pull_up>,
				<0 RK_PB3 RK_FUNC_GPIO &pcfg_pull_none>;
		};

		/* ODROID-GO2 : PMIC_SLEEP(GPIO0.PA4) */
		soc_slppin_gpio: soc_slppin_gpio {
			rockchip,pins =
				<0 RK_PA4 RK_FUNC_GPIO &pcfg_output_low>;
		};

		soc_slppin_slp: soc_slppin_slp {
			rockchip,pins =
				<0 RK_PA4 RK_FUNC_1 &pcfg_pull_none>;
		};

		soc_slppin_rst: soc_slppin_rst {
			rockchip,pins =
				<0 RK_PA4 RK_FUNC_2 &pcfg_pull_none>;
		};
	};

	leds {
		led_pins: led-pins {
			rockchip,pins = <0 RK_PC1 RK_FUNC_GPIO &pcfg_pull_none>;
		};
	};
	btns {
		btn_pins: btn-pins {
			rockchip,pins = <1 RK_PB4 RK_FUNC_GPIO &pcfg_pull_up>,
					<1 RK_PB5 RK_FUNC_GPIO &pcfg_pull_up>,
					<1 RK_PB6 RK_FUNC_GPIO &pcfg_pull_up>,
					<1 RK_PB7 RK_FUNC_GPIO &pcfg_pull_up>,
					<1 RK_PA2 RK_FUNC_GPIO &pcfg_pull_up>,
					<1 RK_PA5 RK_FUNC_GPIO &pcfg_pull_up>,
					<1 RK_PA6 RK_FUNC_GPIO &pcfg_pull_up>,
					<1 RK_PA7 RK_FUNC_GPIO &pcfg_pull_up>,

					<2 RK_PA0 RK_FUNC_GPIO &pcfg_pull_up>,
					<2 RK_PA1 RK_FUNC_GPIO &pcfg_pull_up>,
					<2 RK_PA2 RK_FUNC_GPIO &pcfg_pull_up>,
					<2 RK_PA3 RK_FUNC_GPIO &pcfg_pull_up>,
					<2 RK_PA4 RK_FUNC_GPIO &pcfg_pull_up>,
					<2 RK_PA5 RK_FUNC_GPIO &pcfg_pull_up>,
					<2 RK_PA6 RK_FUNC_GPIO &pcfg_pull_up>,
					<2 RK_PA7 RK_FUNC_GPIO &pcfg_pull_up>,
					<3 RK_PB1 RK_FUNC_GPIO &pcfg_pull_up>,
					<3 RK_PB2 RK_FUNC_GPIO &pcfg_pull_up>,
					<3 RK_PB4 RK_FUNC_GPIO &pcfg_pull_up>,
					<3 RK_PB7 RK_FUNC_GPIO &pcfg_pull_up>;
		};
	};
};

/* DON'T PUT ANYTHING BELOW HERE.  PUT IT ABOVE PINCTRL */


